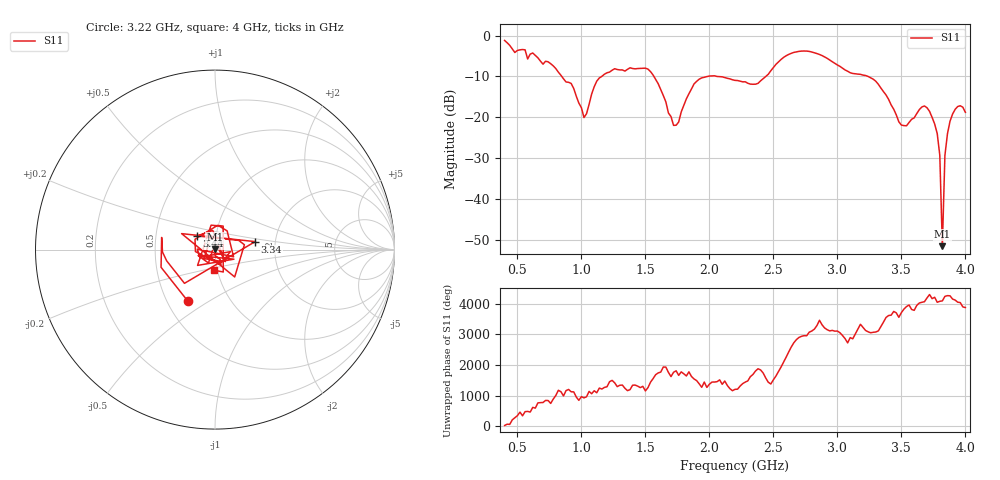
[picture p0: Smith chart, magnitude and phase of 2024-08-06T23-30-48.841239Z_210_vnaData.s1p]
!Created with skrf (http://scikit-rf.org).
# Hz S RI R 50.0
!freq ReS11 ImS11
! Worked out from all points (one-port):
!   181 points, 400 MHz to 4 GHz, reference 50 ohm
!   lowest |S11| = -51.5 dB at 3.82 GHz (marker M1), VSWR 1.01, Z = 49.8 + j0.212 ohm
!   |S11| at or under -10 dB: 1.567 GHz to 1.985 GHz (418.4 MHz wide, 23.6 % of centre); 2.06 GHz to 2.441 GHz (380.8 MHz wide, 16.9 % of centre); 3.24 GHz to end of sweep (the widest 3 of 4)
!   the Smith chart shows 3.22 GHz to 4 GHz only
!   S11 on the Smith chart (normalised r, x): 3.22 GHz: 0.64, -0.41; 3.34 GHz: 1.57, +0.15; 3.44 GHz: 0.81, +0.13; 4 GHz: 0.97, -0.23
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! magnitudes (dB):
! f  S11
! 400 MHz  -1.2
! 860 MHz  -10.6
! 920 MHz  -11.7
! 1.02 GHz  -20.0
! 1.12 GHz  -11.1
! 1.3 GHz  -8.4
! 1.52 GHz  -8.2
! 1.6 GHz  -11.8
! 1.72 GHz  -22.0
! 1.76 GHz  -21.1
! 1.92 GHz  -10.7
! 2.2 GHz  -11.0
! 2.38 GHz  -11.7
! 2.66 GHz  -4.1
! 3.1 GHz  -9.1
! 3.22 GHz  -9.8
! 3.34 GHz  -12.8
! 3.44 GHz  -18.0
! 3.5 GHz  -21.9
! 3.56 GHz  -21.2
! 3.68 GHz  -17.2
! 3.76 GHz  -21.6
! 3.8 GHz  -29.3
! 3.82 GHz  -51.5
! 3.84 GHz  -29.3
! 3.86 GHz  -24.0
! 3.92 GHz  -18.0
! 4 GHz  -18.8
